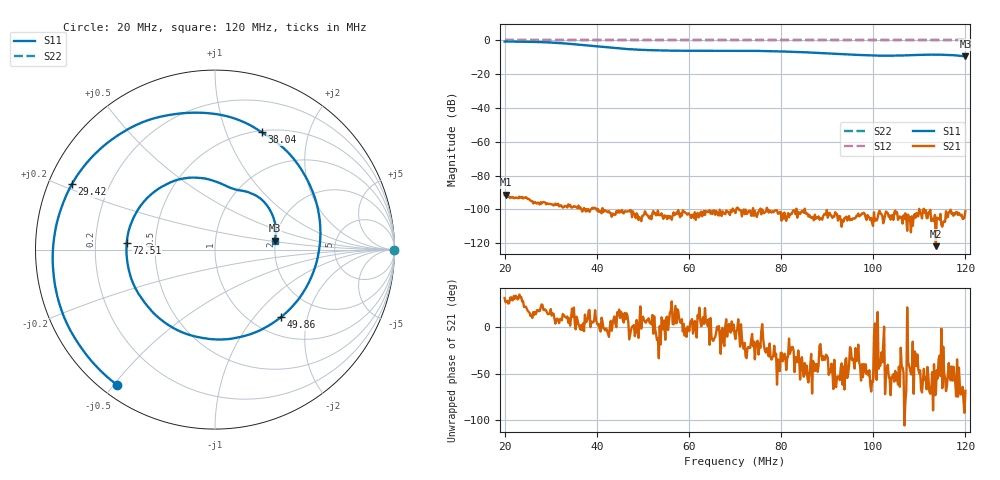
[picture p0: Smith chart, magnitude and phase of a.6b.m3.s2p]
! Anritsu VNA Master:  Model: MS2036C/10/77
! SN:  1601066
! /bd0/18may07/256.ns.m3.s2p
! Existing Calibration Information:
! TYPE:  Current Settings,  Active Cal Settings
! TIME:  05/07/2018 03:04:05 PM,  05/07/2018 02:58:54 PM
! INTERNAL TEMP:  59.5 C,  58.8 C
! # POINTS:  500,  500
! START FREQ:  20.000 MHz,  20.000 MHz
! STOP FREQ:  120.000 MHz,  120.000 MHz
! SOURCE POWER:  High,  High
! IFBW:  50 Hz,  50 Hz
! AVG FACTOR:  1 ,  1
! REF PLANE 1:  0 mm,  0 mm
! REF PLANE 2:  0 mm,  0 mm
! CAL TYPE:  Full S11,  Full S11
! CAL METHOD:  SOLT,  SOLT
! CAL LINE TYPE:  Coax,  Coax
! DUT PORT 1:  K-Conn(F),  K-Conn(F)
! DUT PORT 2:  K-Conn(F),  K-Conn(F)
! CAL STATUS:  OK: Accuracy High,  --
# GHZ S DB R 50.0
! FREQ.GHZ  S11DB  S11A  S21DB  S21A  S12DB  S12A  S22DB  S22A
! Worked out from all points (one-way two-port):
!   500 points, 20 MHz to 120 MHz, reference 50 ohm
!   highest |S21| = -91.35 dB at 20.2 MHz (marker M1); lowest = -121.8 dB at 113.6 MHz (marker M2)
!   lowest |S11| = -9.5 dB at 120 MHz (marker M3), VSWR 2.01, Z = 98.8 + j11.1 ohm
!   |S11| at or under -10 dB: nowhere
!   |S22| runs from 0.0 to 0.0 dB; largest |S21 - S12| = 1
!   S11 on the Smith chart (normalised r, x): 20 MHz: 0.05, -0.51; 29.42 MHz: 0.07, +0.22; 38.04 MHz: 0.51, +1.34; 49.86 MHz: 1.34, -1.39; 72.51 MHz: 0.34, +0.04; 120 MHz: 1.98, +0.22
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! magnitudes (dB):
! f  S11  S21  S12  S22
! 20 MHz  -0.6  -91.5  0.0  0.0
! 20.2 MHz  -0.6  -91.4  0.0  0.0
! 24.81 MHz  -0.8  -93.3  0.0  0.0
! 29.42 MHz  -1.1  -96.7  0.0  0.0
! 33.03 MHz  -1.8  -98.0  0.0  0.0
! 36.83 MHz  -2.7  -101.3  0.0  0.0
! 38.04 MHz  -3.0  -101.0  0.0  0.0
! 44.85 MHz  -4.7  -102.0  0.0  0.0
! 49.86 MHz  -5.6  -104.0  0.0  0.0
! 53.47 MHz  -5.9  -103.4  0.0  0.0
! 63.69 MHz  -6.2  -101.0  0.0  0.0
! 70.1 MHz  -6.1  -102.2  0.0  0.0
! 72.51 MHz  -6.1  -102.8  0.0  0.0
! 78.92 MHz  -6.4  -100.5  0.0  0.0
! 86.73 MHz  -7.2  -104.5  0.0  0.0
! 97.96 MHz  -8.7  -102.0  0.0  0.0
! 103.4 MHz  -9.0  -104.4  0.0  0.0
! 106 MHz  -8.9  -105.2  0.0  0.0
! 111.4 MHz  -8.4  -100.5  0.0  0.0
! 113.6 MHz  -8.4  -121.8  0.0  0.0
! 117.2 MHz  -8.7  -102.1  0.0  0.0
! 120 MHz  -9.5  -101.1  0.0  0.0
